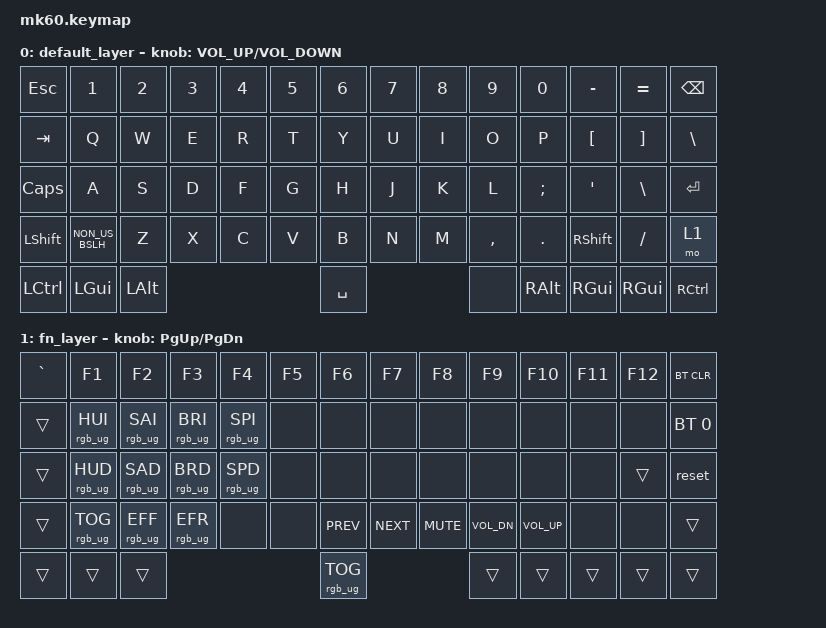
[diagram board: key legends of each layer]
/*
 * Copyright (c) 2020 The ZMK Contributors
 *
 * SPDX-License-Identifier: MIT
 */

#include <behaviors.dtsi>
#include <dt-bindings/zmk/keys.h>
#include <dt-bindings/zmk/bt.h>
#include <dt-bindings/zmk/rgb.h>

/ {

	sensors {
		compatible = "zmk,keymap-sensors";
		sensors = <&esc_encoder>;
	};

	keymap0: keymap {
		compatible = "zmk,keymap";

		default_layer {

			sensor-bindings = <&inc_dec_kp C_VOLUME_UP C_VOLUME_DOWN>;
		
			bindings = <
	&kp ESC   &kp N1          &kp N2 &kp N3 &kp N4 &kp N5 &kp N6 &kp N7 &kp N8 &kp  N9   &kp N0    &kp MINUS &kp EQUAL &kp BSPC
	&kp TAB   &kp Q           &kp W  &kp E  &kp R  &kp T  &kp Y  &kp U  &kp I  &kp  O    &kp P     &kp LBKT  &kp RBKT  &kp BSLH
	&kp CLCK  &kp A           &kp S  &kp D  &kp F  &kp G  &kp H  &kp J  &kp K  &kp  L    &kp SEMI  &kp SQT   &kp BSLH  &kp RET
	&kp LSHFT &kp NON_US_BSLH &kp Z  &kp X  &kp C  &kp V  &kp B  &kp N  &kp M  &kp COMMA &kp DOT   &kp RSHFT &kp FSLH  &mo 1
	&kp LCTRL &kp LGUI        &kp LALT                    &kp SPACE            &none     &kp RALT  &kp RGUI  &kp RGUI  &kp RCTRL
			>;
		};

		fn_layer {

			sensor-bindings = <&inc_dec_kp PG_UP PG_DN>;

			bindings = <
&kp GRAVE &kp F1          &kp F2          &kp F3           &kp F4          &kp F5  &kp F6     &kp F7     &kp F8     &kp F9       &kp F10      &kp F11 &kp F12 &bt BT_CLR
&trans    &rgb_ug RGB_HUI &rgb_ug RGB_SAI &rgb_ug RGB_BRI  &rgb_ug RGB_SPI &none   &none      &none      &none      &none        &none        &none   &none   &bt BT_SEL 0
&trans    &rgb_ug RGB_HUD &rgb_ug RGB_SAD &rgb_ug RGB_BRD  &rgb_ug RGB_SPD &none   &none      &none      &none      &none        &none        &none   &trans  &reset
&trans    &rgb_ug RGB_TOG &rgb_ug RGB_EFF &rgb_ug RGB_EFR  &none           &none   &kp C_PREV &kp C_NEXT &kp K_MUTE &kp C_VOL_DN &kp C_VOL_UP &none   &none   &trans
&trans    &trans          &trans                                                   &rgb_ug RGB_TOG                  &trans       &trans       &trans  &trans  &trans
			>;
		};
	};
};

